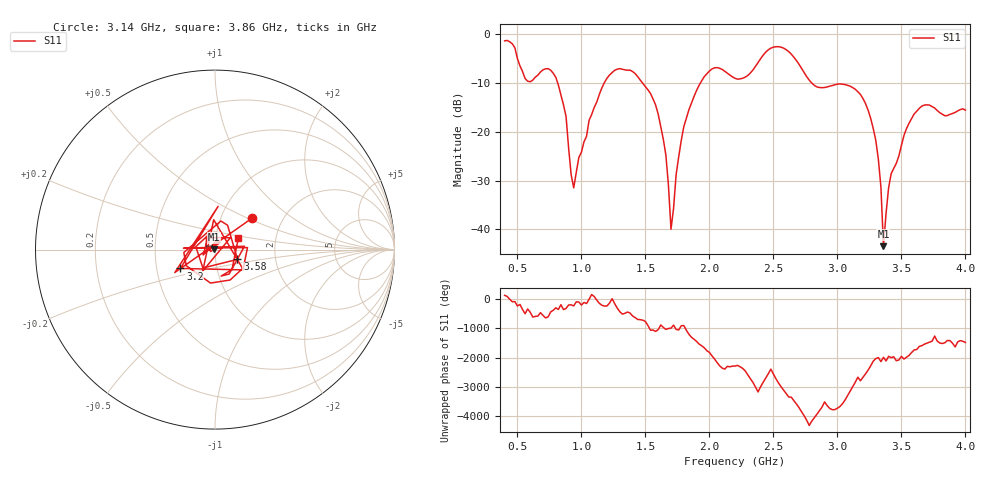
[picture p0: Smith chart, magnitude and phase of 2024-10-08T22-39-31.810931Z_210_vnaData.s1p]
! Created with skrf (http://scikit-rf.org).
# Hz S RI R 50.0
!freq ReS11 ImS11
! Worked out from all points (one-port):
!   181 points, 400 MHz to 4 GHz, reference 50 ohm
!   lowest |S11| = -43.5 dB at 3.36 GHz (marker M1), VSWR 1.01, Z = 49.3 + j0.116 ohm
!   |S11| at or under -10 dB: 815 MHz to 1.178 GHz (362.6 MHz wide, 36.4 % of centre); 1.478 GHz to 1.929 GHz (451 MHz wide, 26.5 % of centre); 2.8 GHz to end of sweep
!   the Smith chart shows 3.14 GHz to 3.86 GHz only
!   S11 on the Smith chart (normalised r, x): 3.14 GHz: 1.41, +0.54; 3.2 GHz: 0.66, -0.15; 3.58 GHz: 1.28, -0.14; 3.86 GHz: 1.29, +0.18
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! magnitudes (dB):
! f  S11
! 400 MHz  -1.3
! 580 MHz  -9.6
! 760 MHz  -7.4
! 860 MHz  -14.5
! 940 MHz  -31.5
! 1.06 GHz  -17.6
! 1.3 GHz  -7.0
! 1.58 GHz  -14.5
! 1.66 GHz  -24.8
! 1.7 GHz  -40.0
! 1.76 GHz  -25.2
! 1.84 GHz  -15.5
! 1.96 GHz  -8.7
! 2.2 GHz  -9.0
! 2.5 GHz  -2.6
! 2.66 GHz  -4.7
! 2.84 GHz  -10.8
! 3.1 GHz  -10.6
! 3.14 GHz  -11.3
! 3.2 GHz  -13.2
! 3.3 GHz  -21.8
! 3.34 GHz  -31.3
! 3.36 GHz  -43.5
! 3.42 GHz  -28.6
! 3.56 GHz  -18.2
! 3.58 GHz  -17.3
! 3.86 GHz  -16.7
! 4 GHz  -15.5
